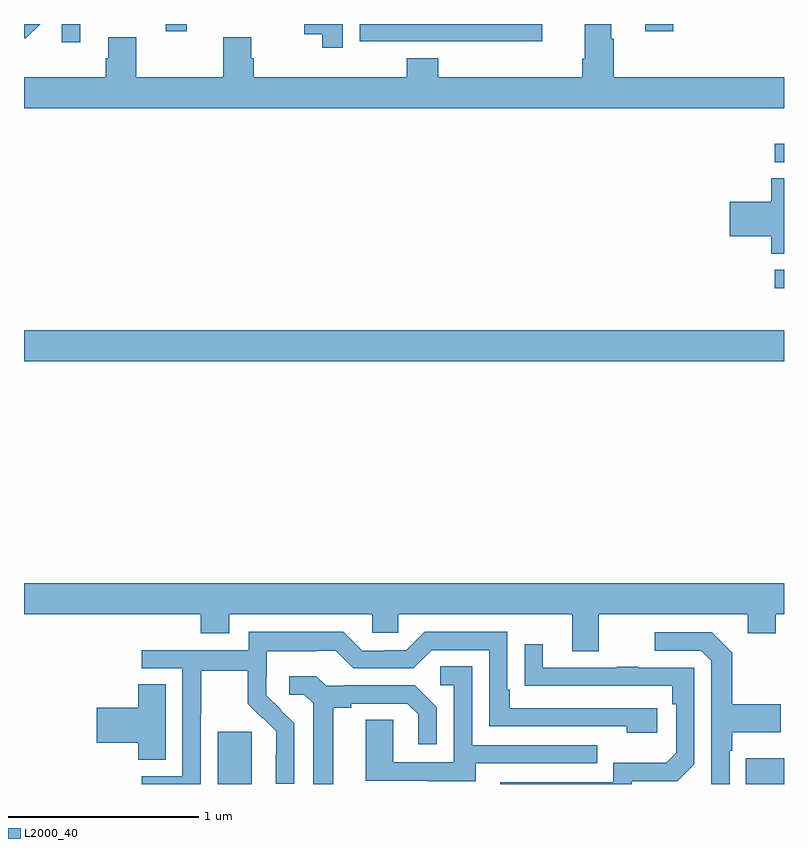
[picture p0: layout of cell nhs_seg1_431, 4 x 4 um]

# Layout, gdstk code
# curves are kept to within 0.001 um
import gdstk
lib = gdstk.Library(unit=1e-6, precision=1e-09)
def R(c, l, rs):  # rectangles x0, y0, x1, y1
    for r in rs: c.add(gdstk.rectangle(r[:2], r[2:], *l))
def P(c, l, *ps):  # polygons
    for p in ps: c.add(gdstk.Polygon(p, *l))
L2000_40 = (2000, 40)

nhs_seg1_431 = lib.new_cell('nhs_seg1_431')
R(nhs_seg1_431, L2000_40, [(136.019,524.199,136.198,524.475), (138.799,524.199,139,524.335), (135,526.424,139,526.588), (138.951,526.807,139,526.905), (138.951,527.472,139,527.568), (135.198,528.102,135.295,528.199), (135.746,528.162,135.857,528.199), (138.269,528.162,138.418,528.199)])
P(nhs_seg1_431, L2000_40, [(139,527.92),(138.104,527.92),(138.104,528.122),(138.091,528.122),(138.091,528.199),(137.951,528.199),(137.951,528.016),(137.939,528.016),(137.939,527.92),(137.18,527.92),(137.18,528.019),(137.015,528.019),(137.015,527.92),(136.208,527.92),(136.208,528.018),(136.195,528.018),(136.195,528.128),(136.048,528.128),(136.048,527.92),(135.591,527.92),(135.591,528.128),(135.443,528.128),(135.443,528.018),(135.431,528.018),(135.431,527.92),(135,527.92),(135,527.756),(139,527.756)],
  [(136.677,528.199),(136.476,528.199),(136.476,528.145),(136.569,528.145),(136.569,528.075),(136.677,528.075)],
  [(135.085,528.199),(135,528.199),(135,528.125),(135.01,528.125)],
  [(137.727,528.199),(136.767,528.199),(136.767,528.108),(137.263,528.108),(137.263,528.107),(137.727,528.107)],
  [(139,527.387),(138.932,527.387),(138.932,527.264),(138.714,527.264),(138.714,527.081),(138.932,527.081),(138.932,526.99),(139,526.99)],
  [(138.025,525.092),(138.809,525.092),(138.809,524.993),(138.957,524.993),(138.957,525.092),(139,525.092),(139,525.256),(135,525.256),(135,525.092),(135.929,525.092),(135.929,524.993),(136.081,524.993),(136.081,525.092),(136.833,525.092),(136.833,524.994),(136.971,524.994),(136.971,525.092),(137.885,525.092),(137.885,524.898),(138.025,524.898)],
  [(135.93,524.572),(135.933,524.572),(135.933,524.796),(136.177,524.796),(136.177,524.621),(136.254,524.544),(136.257,524.547),(136.328,524.477),(136.328,524.354),(136.326,524.354),(136.326,524.2),(136.422,524.2),(136.422,524.518),(136.276,524.666),(136.276,524.763),(136.278,524.763),(136.278,524.897),(136.541,524.897),(136.541,524.901),(136.641,524.901),(136.734,524.808),(137.049,524.808),(137.145,524.904),(137.448,524.904),(137.448,524.502),(138.173,524.502),(138.173,524.468),(138.334,524.468),(138.334,524.598),(137.557,524.598),(137.557,524.695),(137.544,524.695),(137.544,525),(137.109,525),(137.013,524.904),(136.895,524.904),(136.895,524.901),(136.779,524.901),(136.679,525.001),(136.182,525.001),(136.182,524.904),(135.621,524.904),(135.621,524.808),(135.834,524.808),(135.834,524.241),(135.621,524.241),(135.621,524.199),(135.93,524.199)],
  [(138.714,524.375),(138.727,524.375),(138.727,524.471),(138.983,524.471),(138.983,524.619),(138.727,524.619),(138.727,524.891),(138.621,524.997),(138.321,524.997),(138.321,524.901),(138.564,524.901),(138.618,524.847),(138.618,524.199),(138.714,524.199)],
  [(138.198,524.214),(138.438,524.214),(138.528,524.304),(138.528,524.811),(138.233,524.811),(138.233,524.816),(138.121,524.816),(138.121,524.811),(137.731,524.811),(137.731,524.935),(137.635,524.935),(137.635,524.716),(138.412,524.715),(138.412,524.618),(138.432,524.618),(138.432,524.364),(138.379,524.311),(138.102,524.311),(138.102,524.208),(137.507,524.208),(137.507,524.199),(138.198,524.199)],
  [(137.377,524.307),(138.017,524.307),(138.017,524.403),(137.358,524.403),(137.358,524.819),(137.19,524.819),(137.19,524.718),(137.262,524.718),(137.262,524.313),(136.944,524.313),(136.944,524.537),(136.799,524.537),(136.799,524.217),(137.123,524.217),(137.123,524.213),(137.377,524.213)],
  [(136.627,524.6),(136.723,524.6),(136.723,524.622),(137.018,524.622),(137.075,524.565),(137.075,524.409),(137.172,524.409),(137.172,524.602),(137.056,524.718),(136.684,524.718),(136.684,524.715),(136.59,524.715),(136.538,524.767),(136.395,524.767),(136.395,524.67),(136.476,524.67),(136.523,524.623),(136.523,524.199),(136.627,524.199)],
  [(135.745,524.723),(135.602,524.723),(135.602,524.6),(135.384,524.6),(135.384,524.417),(135.602,524.417),(135.602,524.326),(135.745,524.326)])

lib.write_gds('nhs_seg1_431.gds')
